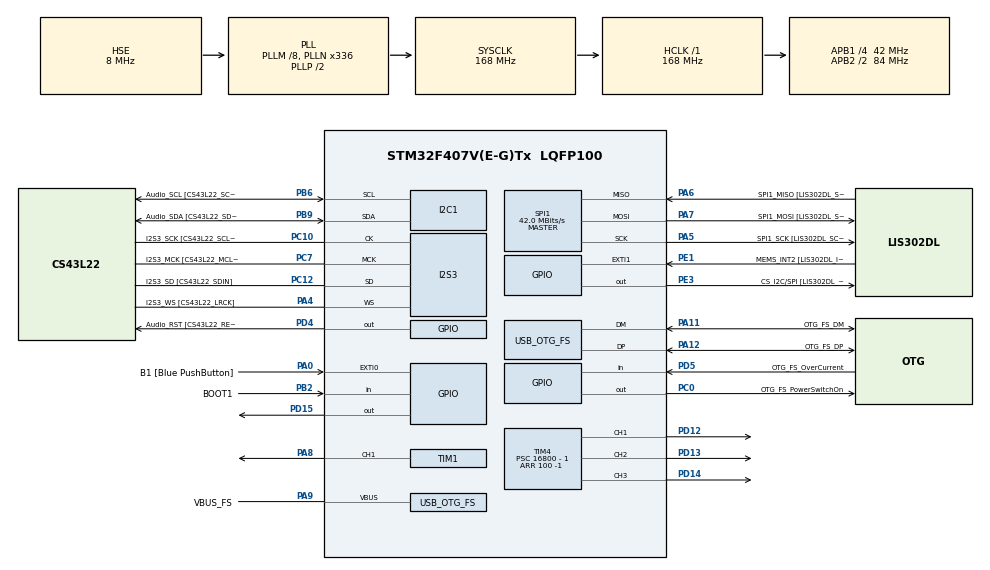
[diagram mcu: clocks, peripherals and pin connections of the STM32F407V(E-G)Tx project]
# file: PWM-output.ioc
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I2S3.AudioFreq-Half_Duplex_Master=I2S_AUDIOFREQ_96K
I2S3.ErrorAudioFreq=-2.34 %
I2S3.ErrorAudioFreq-Half_Duplex_Master=0.8 %
I2S3.FullDuplexMode=I2S_FULLDUPLEXMODE_DISABLE
I2S3.Instance=SPI$Index
I2S3.RealAudioFreq=93.75 KHz
I2S3.RealAudioFreq-Half_Duplex_Master=96.774 KHz
I2S3.VirtualMode=I2S_MODE_MASTER
Mcu.Family=STM32F4
Mcu.Name=STM32F407V(E-G)Tx
Mcu.Package=LQFP100
NVIC.OTG_FS_IRQn=true\:0\:0\:false\:false\:true\:true
NVIC.PriorityGroup=NVIC_PRIORITYGROUP_0
PA0-WKUP.GPIO_Label=B1 [Blue PushButton]
PA0-WKUP.GPIO_ModeDefaultEXTI=GPIO_MODE_EVT_RISING
PA0-WKUP.GPIO_PuPd=GPIO_NOPULL
PA0-WKUP.Signal=GPXTI0
PA10.GPIO_Label=OTG_FS_ID
PA10.GPIO_Mode=GPIO_MODE_AF_PP
PA10.GPIO_PuPd=GPIO_NOPULL
PA10.GPIO_Speed=GPIO_SPEED_FREQ_LOW
PA10.Signal=USB_OTG_FS_ID
PA11.GPIO_Label=OTG_FS_DM
PA11.GPIO_Mode=GPIO_MODE_AF_PP
PA11.GPIO_PuPd=GPIO_NOPULL
PA11.GPIO_Speed=GPIO_SPEED_FREQ_LOW
PA11.Mode=Host_Only
PA11.Signal=USB_OTG_FS_DM
PA12.GPIO_Label=OTG_FS_DP
PA12.GPIO_Mode=GPIO_MODE_AF_PP
PA12.GPIO_PuPd=GPIO_NOPULL
PA12.GPIO_Speed=GPIO_SPEED_FREQ_LOW
PA12.Mode=Host_Only
PA12.Signal=USB_OTG_FS_DP
PA13.GPIO_Label=SWDIO
PA13.Mode=Serial_Wire
PA13.Signal=SYS_JTMS-SWDIO
PA14.GPIO_Label=SWCLK
PA14.Mode=Serial_Wire
PA14.Signal=SYS_JTCK-SWCLK
PA4.GPIO_Label=I2S3_WS [CS43L22_LRCK]
PA4.GPIO_Mode=GPIO_MODE_AF_PP
PA4.GPIO_PuPd=GPIO_NOPULL
PA4.GPIO_Speed=GPIO_SPEED_FREQ_LOW
PA4.Mode=Half_Duplex_Master
PA4.Signal=I2S3_WS
PA5.GPIO_Label=SPI1_SCK [LIS302DL_SCL/SPC]
PA5.GPIO_Mode=GPIO_MODE_AF_PP
PA5.GPIO_PuPd=GPIO_NOPULL
PA5.GPIO_Speed=GPIO_SPEED_FREQ_LOW
PA5.Mode=Full_Duplex_Master
PA5.Signal=SPI1_SCK
PA6.GPIO_Label=SPI1_MISO [LIS302DL_SDO]
PA6.GPIO_Mode=GPIO_MODE_AF_PP
PA6.GPIO_PuPd=GPIO_NOPULL
PA6.GPIO_Speed=GPIO_SPEED_FREQ_LOW
PA6.Mode=Full_Duplex_Master
PA6.Signal=SPI1_MISO
PA7.GPIO_Label=SPI1_MOSI [LIS302DL_SDA/SDI/SDO]
PA7.GPIO_Mode=GPIO_MODE_AF_PP
PA7.GPIO_PuPd=GPIO_NOPULL
PA7.GPIO_Speed=GPIO_SPEED_FREQ_LOW
PA7.Mode=Full_Duplex_Master
PA7.Signal=SPI1_MOSI
PA8.Signal=S_TIM1_CH1
PA9.GPIO_Label=VBUS_FS
PA9.GPIO_Mode=GPIO_MODE_INPUT
PA9.GPIO_PuPd=GPIO_NOPULL
PA9.Mode=Activate_VBUS
PA9.Signal=USB_OTG_FS_VBUS
PB10.GPIO_Label=CLK_IN [MP45DT02_CLK]
PB10.GPIO_Mode=GPIO_MODE_AF_PP
PB10.GPIO_PuPd=GPIO_NOPULL
PB10.GPIO_Speed=GPIO_SPEED_FREQ_LOW
PB10.Signal=I2S2_CK
PB2.GPIO_Label=BOOT1
PB2.GPIO_Mode=GPIO_MODE_INPUT
PB2.GPIO_PuPd=GPIO_NOPULL
PB2.Signal=GPIO_Input
PB3.GPIO_Label=SWO
PB3.Signal=SYS_JTDO-SWO
PB6.GPIO_Label=Audio_SCL [CS43L22_SCL]
PB6.GPIO_Mode=GPIO_MODE_AF_OD
PB6.GPIO_PuPd=GPIO_NOPULL
PB6.GPIO_Speed=GPIO_SPEED_FREQ_LOW
PB6.Mode=I2C
PB6.Signal=I2C1_SCL
PB9.GPIO_Label=Audio_SDA [CS43L22_SDA]
PB9.GPIO_Mode=GPIO_MODE_AF_OD
PB9.GPIO_PuPd=GPIO_NOPULL
PB9.GPIO_Speed=GPIO_SPEED_FREQ_LOW
PB9.Mode=I2C
PB9.Signal=I2C1_SDA
PC0.GPIO_Label=OTG_FS_PowerSwitchOn
PC0.GPIO_PuPd=GPIO_NOPULL
PC0.GPIO_Speed=GPIO_SPEED_FREQ_LOW
PC0.PinState=GPIO_PIN_SET
PC0.Signal=GPIO_Output
PC10.GPIO_Label=I2S3_SCK [CS43L22_SCLK]
PC10.GPIO_Mode=GPIO_MODE_AF_PP
PC10.GPIO_PuPd=GPIO_NOPULL
PC10.GPIO_Speed=GPIO_SPEED_FREQ_LOW
PC10.Mode=Half_Duplex_Master
PC10.Signal=I2S3_CK
PC12.GPIO_Label=I2S3_SD [CS43L22_SDIN]
PC12.GPIO_Mode=GPIO_MODE_AF_PP
PC12.GPIO_PuPd=GPIO_NOPULL
PC12.GPIO_Speed=GPIO_SPEED_FREQ_LOW
PC12.Mode=Half_Duplex_Master
PC12.Signal=I2S3_SD
PC14-OSC32_IN.GPIO_Label=PC14-OSC32_IN
PC14-OSC32_IN.Mode=LSE-External-Oscillator
PC14-OSC32_IN.Signal=RCC_OSC32_IN
PC15-OSC32_OUT.GPIO_Label=PC15-OSC32_OUT
PC15-OSC32_OUT.Mode=LSE-External-Oscillator
PC15-OSC32_OUT.Signal=RCC_OSC32_OUT
PC3.GPIO_Label=PDM_OUT [MP45DT02_DOUT]
PC3.GPIO_Mode=GPIO_MODE_AF_PP
PC3.GPIO_PuPd=GPIO_NOPULL
PC3.GPIO_Speed=GPIO_SPEED_FREQ_LOW
PC3.Signal=I2S2_SD
PC7.GPIO_Label=I2S3_MCK [CS43L22_MCLK]
PC7.GPIO_Mode=GPIO_MODE_AF_PP
PC7.GPIO_PuPd=GPIO_NOPULL
PC7.GPIO_Speed=GPIO_SPEED_FREQ_LOW
PC7.Mode=Master_Clock_Activated
PC7.Signal=I2S3_MCK
PD12.Signal=S_TIM4_CH1
PD13.Signal=S_TIM4_CH2
PD14.Signal=S_TIM4_CH3
PD15.Signal=GPIO_Output
PD4.GPIO_Label=Audio_RST [CS43L22_RESET]
PD4.GPIO_PuPd=GPIO_NOPULL
PD4.GPIO_Speed=GPIO_SPEED_FREQ_LOW
PD4.Signal=GPIO_Output
PD5.GPIO_Label=OTG_FS_OverCurrent
PD5.GPIO_Mode=GPIO_MODE_INPUT
PD5.GPIO_PuPd=GPIO_NOPULL
PD5.Signal=GPIO_Input
PE1.GPIO_Label=MEMS_INT2 [LIS302DL_INT2]
PE1.GPIO_ModeDefaultEXTI=GPIO_MODE_EVT_RISING
PE1.GPIO_PuPd=GPIO_NOPULL
PE1.Signal=GPXTI1
PE3.GPIO_Label=CS_I2C/SPI [LIS302DL_CS_I2C/SPI]
PE3.GPIO_PuPd=GPIO_NOPULL
PE3.GPIO_Speed=GPIO_SPEED_FREQ_LOW
PE3.Signal=GPIO_Output
PH0-OSC_IN.GPIO_Label=PH0-OSC_IN
PH0-OSC_IN.Mode=HSE-External-Oscillator
PH0-OSC_IN.Signal=RCC_OSC_IN
PH1-OSC_OUT.GPIO_Label=PH1-OSC_OUT
PH1-OSC_OUT.Mode=HSE-External-Oscillator
PH1-OSC_OUT.Signal=RCC_OSC_OUT
ProjectManager.HeapSize=0x200
ProjectManager.StackSize=0x400
ProjectManager.TargetToolchain=TrueSTUDIO
RCC.48MHZClocksFreq_Value=48000000
RCC.AHBFreq_Value=168000000
RCC.APB1CLKDivider=RCC_HCLK_DIV4
RCC.APB1Freq_Value=42000000
RCC.APB1TimFreq_Value=84000000
RCC.APB2CLKDivider=RCC_HCLK_DIV2
RCC.APB2Freq_Value=84000000
RCC.APB2TimFreq_Value=168000000
RCC.CortexFreq_Value=168000000
RCC.HCLKFreq_Value=168000000
RCC.HSE_VALUE=8000000
RCC.HSI_VALUE=16000000
RCC.PLLM=8
RCC.PLLN=336
RCC.PLLQ=7
RCC.SYSCLKFreq_VALUE=168000000
RCC.SYSCLKSource=RCC_SYSCLKSOURCE_PLLCLK
RCC.VCOOutputFreq_Value=336000000
SH.S_TIM1_CH1.0=TIM1_CH1,PWM Generation1 CH1
SH.S_TIM4_CH1.0=TIM4_CH1,PWM Generation1 CH1
SH.S_TIM4_CH2.0=TIM4_CH2,PWM Generation2 CH2
SH.S_TIM4_CH3.0=TIM4_CH3,PWM Generation3 CH3
SPI1.BaudRatePrescaler-Full_Duplex_Master=SPI_BAUDRATEPRESCALER_2
SPI1.CalculateBaudRate=42.0 MBits/s
SPI1.CalculateBaudRate-Full_Duplex_Master=42.0 MBits/s
SPI1.Direction=SPI_DIRECTION_2LINES
SPI1.Mode=SPI_MODE_MASTER
SPI1.Mode-Full_Duplex_Master=SPI_MODE_MASTER
SPI1.VirtualType=VM_MASTER
TIM1.Channel-PWM\ Generation1\ CH1=TIM_CHANNEL_1
TIM1.Period=100 - 1
TIM1.Prescaler=16800 - 1
TIM4.Channel-PWM\ Generation1\ CH1=TIM_CHANNEL_1
TIM4.Channel-PWM\ Generation2\ CH2=TIM_CHANNEL_2
TIM4.Channel-PWM\ Generation3\ CH3=TIM_CHANNEL_3
TIM4.Period=100 -1 
TIM4.Prescaler=16800 - 1
USB_HOST.BSP.number=1
USB_HOST.USBH_HandleTypeDef-CDC_FS=hUsbHostFS
USB_HOST.VirtualModeFS=Cdc
USB_HOST0.BSP.STBoard=false
USB_HOST0.BSP.api=UnknownBspDriver
USB_HOST0.BSP.i2caddr=0
USB_HOST0.BSP.i2creg=0
USB_HOST0.BSP.instance=PC0
USB_HOST0.BSP.ip=GPIO
USB_HOST0.BSP.mode=Output
USB_HOST0.BSP.name=Drive_VBUS_FS
USB_HOST0.BSP.solution=PC0
USB_OTG_FS.VirtualMode=Host_Only
USB_OTG_FS.phy_itface=HCD_PHY_EMBEDDED
VP_USB_HOST_VS_USB_HOST_CDC_FS.Mode=CDC_FS
board=STM32F4DISCOVERY

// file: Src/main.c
/**
  ******************************************************************************
  * @file           : main.c
  * @brief          : Main program body
  ******************************************************************************
  * This notice applies to any and all portions of this file
  * that are not between comment pairs USER CODE BEGIN and
  * USER CODE END. Other portions of this file, whether
  * inserted by the user or by software development tools
  * are owned by their respective copyright owners.
  *
  * Copyright (c) 2018 STMicroelectronics International N.V.
  * All rights reserved.
  *
  * Redistribution and use in source and binary forms, with or without
  * modification, are permitted, provided that the following conditions are met:
  *
  * 1. Redistribution of source code must retain the above copyright notice,
  *    this list of conditions and the following disclaimer.
  * 2. Redistributions in binary form must reproduce the above copyright notice,
  *    this list of conditions and the following disclaimer in the documentation
  *    and/or other materials provided with the distribution.
  * 3. Neither the name of STMicroelectronics nor the names of other
  *    contributors to this software may be used to endorse or promote products
  *    derived from this software without specific written permission.
  * 4. This software, including modifications and/or derivative works of this
  *    software, must execute solely and exclusively on microcontroller or
  *    microprocessor devices manufactured by or for STMicroelectronics.
  * 5. Redistribution and use of this software other than as permitted under
  *    this license is void and will automatically terminate your rights under
  *    this license.
  *
  * THIS SOFTWARE IS PROVIDED BY STMICROELECTRONICS AND CONTRIBUTORS "AS IS"
  * AND ANY EXPRESS, IMPLIED OR STATUTORY WARRANTIES, INCLUDING, BUT NOT
  * LIMITED TO, THE IMPLIED WARRANTIES OF MERCHANTABILITY, FITNESS FOR A
  * PARTICULAR PURPOSE AND NON-INFRINGEMENT OF THIRD PARTY INTELLECTUAL PROPERTY
  * RIGHTS ARE DISCLAIMED TO THE FULLEST EXTENT PERMITTED BY LAW. IN NO EVENT
  * SHALL STMICROELECTRONICS OR CONTRIBUTORS BE LIABLE FOR ANY DIRECT, INDIRECT,
  * INCIDENTAL, SPECIAL, EXEMPLARY, OR CONSEQUENTIAL DAMAGES (INCLUDING, BUT NOT
  * LIMITED TO, PROCUREMENT OF SUBSTITUTE GOODS OR SERVICES; LOSS OF USE, DATA,
  * OR PROFITS; OR BUSINESS INTERRUPTION) HOWEVER CAUSED AND ON ANY THEORY OF
  * LIABILITY, WHETHER IN CONTRACT, STRICT LIABILITY, OR TORT (INCLUDING
  * NEGLIGENCE OR OTHERWISE) ARISING IN ANY WAY OUT OF THE USE OF THIS SOFTWARE,
  * EVEN IF ADVISED OF THE POSSIBILITY OF SUCH DAMAGE.
  *
  ******************************************************************************
  */
#include "main.h"
#include "stm32f4xx_hal.h"
#include "usb_host.h"

I2C_HandleTypeDef hi2c1;

I2S_HandleTypeDef hi2s3;

SPI_HandleTypeDef hspi1;

TIM_HandleTypeDef htim1;
TIM_HandleTypeDef htim4;

/* USER CODE BEGIN PV */
/* Private variables ---------------------------------------------------------*/

/* USER CODE END PV */

void SystemClock_Config(void);
static void MX_GPIO_Init(void);
static void MX_I2C1_Init(void);
static void MX_I2S3_Init(void);
static void MX_SPI1_Init(void);
static void MX_TIM1_Init(void);
static void MX_TIM4_Init(void);
void MX_USB_HOST_Process(void);

void HAL_TIM_MspPostInit(TIM_HandleTypeDef *htim);

/* USER CODE BEGIN PFP */
/* Private function prototypes -----------------------------------------------*/

/* USER CODE END PFP */

/* USER CODE BEGIN 0 */
int next_duty(void) {
  static int duty = 0;
  duty += 10;
  if (duty > 100) {
      duty = 0;
  }
  return duty;
}

/* USER CODE END 0 */

int main(void)
{
  /* USER CODE BEGIN 1 */
  /* SYSCLOCK 168MHz, Prescaler 16800, Counter period 100
     It generates 100MHz PWM.
     Set duty as 50/100 (50%)
  */
  const int DUTY_50 = 50;

  // LED blink period
  const int LED_INTERVAL = 100;

  int blightness;
  /* USER CODE END 1 */

  /* MCU Configuration----------------------------------------------------------*/

  /* Reset of all peripherals, Initializes the Flash interface and the Systick. */
  HAL_Init();

  /* Configure the system clock */
  SystemClock_Config();

  /* Initialize all configured peripherals */
  MX_GPIO_Init();
  MX_I2C1_Init();
  MX_I2S3_Init();
  MX_SPI1_Init();
  MX_USB_HOST_Init();
  MX_TIM1_Init();
  MX_TIM4_Init();
  /* USER CODE BEGIN 2 */

  // PWM output to PA8
  if (HAL_TIM_PWM_Start(&htim1, TIM_CHANNEL_1) != HAL_OK) {
      Error_Handler();
  } else {
      __HAL_TIM_SetCompare(&htim1, TIM_CHANNEL_1, DUTY_50);
  }

  // PWM output to PD12
  if (HAL_TIM_PWM_Start(&htim4, TIM_CHANNEL_1) != HAL_OK) {
      Error_Handler();
  }

  // PWM output to PD13
  if (HAL_TIM_PWM_Start(&htim4, TIM_CHANNEL_2) != HAL_OK) {
      Error_Handler();
  }

  // PWM output to PD14
  if (HAL_TIM_PWM_Start(&htim4, TIM_CHANNEL_3) != HAL_OK) {
      Error_Handler();
  }

  // PWM output to PD15
  if (HAL_TIM_PWM_Start(&htim4, TIM_CHANNEL_4) != HAL_OK) {
      Error_Handler();
  }

  /* USER CODE END 2 */

  /* Infinite loop */
  /* USER CODE BEGIN WHILE */
  while (1)
  {
    blightness = next_duty();
    __HAL_TIM_SetCompare(&htim4, TIM_CHANNEL_1, blightness);
    __HAL_TIM_SetCompare(&htim4, TIM_CHANNEL_2, blightness);
    __HAL_TIM_SetCompare(&htim4, TIM_CHANNEL_3, blightness);
    __HAL_TIM_SetCompare(&htim4, TIM_CHANNEL_4, blightness);

    HAL_GPIO_WritePin(GPIOD, GPIO_PIN_12, SET);
    HAL_GPIO_WritePin(GPIOD, GPIO_PIN_13, SET);
    HAL_GPIO_WritePin(GPIOD, GPIO_PIN_14, SET);
    HAL_GPIO_WritePin(GPIOD, GPIO_PIN_15, SET);

    HAL_Delay(LED_INTERVAL);

  /* USER CODE END WHILE */
    MX_USB_HOST_Process();

  }

}

void SystemClock_Config(void)
{

  RCC_OscInitTypeDef RCC_OscInitStruct;
  RCC_ClkInitTypeDef RCC_ClkInitStruct;
  RCC_PeriphCLKInitTypeDef PeriphClkInitStruct;

    /**Configure the main internal regulator output voltage
    */
  __HAL_RCC_PWR_CLK_ENABLE();

  __HAL_PWR_VOLTAGESCALING_CONFIG(PWR_REGULATOR_VOLTAGE_SCALE1);

    /**Initializes the CPU, AHB and APB busses clocks
    */
  RCC_OscInitStruct.OscillatorType = RCC_OSCILLATORTYPE_HSE;
  RCC_OscInitStruct.HSEState = RCC_HSE_ON;
  RCC_OscInitStruct.PLL.PLLState = RCC_PLL_ON;
  RCC_OscInitStruct.PLL.PLLSource = RCC_PLLSOURCE_HSE;
  RCC_OscInitStruct.PLL.PLLM = 8;
  RCC_OscInitStruct.PLL.PLLN = 336;
  RCC_OscInitStruct.PLL.PLLP = RCC_PLLP_DIV2;
  RCC_OscInitStruct.PLL.PLLQ = 7;
  if (HAL_RCC_OscConfig(&RCC_OscInitStruct) != HAL_OK)
  {
    _Error_Handler(__FILE__, __LINE__);
  }

    /**Initializes the CPU, AHB and APB busses clocks
    */
  RCC_ClkInitStruct.ClockType = RCC_CLOCKTYPE_HCLK|RCC_CLOCKTYPE_SYSCLK
                              |RCC_CLOCKTYPE_PCLK1|RCC_CLOCKTYPE_PCLK2;
  RCC_ClkInitStruct.SYSCLKSource = RCC_SYSCLKSOURCE_PLLCLK;
  RCC_ClkInitStruct.AHBCLKDivider = RCC_SYSCLK_DIV1;
  RCC_ClkInitStruct.APB1CLKDivider = RCC_HCLK_DIV4;
  RCC_ClkInitStruct.APB2CLKDivider = RCC_HCLK_DIV2;

  if (HAL_RCC_ClockConfig(&RCC_ClkInitStruct, FLASH_LATENCY_5) != HAL_OK)
  {
    _Error_Handler(__FILE__, __LINE__);
  }

  PeriphClkInitStruct.PeriphClockSelection = RCC_PERIPHCLK_I2S;
  PeriphClkInitStruct.PLLI2S.PLLI2SN = 192;
  PeriphClkInitStruct.PLLI2S.PLLI2SR = 2;
  if (HAL_RCCEx_PeriphCLKConfig(&PeriphClkInitStruct) != HAL_OK)
  {
    _Error_Handler(__FILE__, __LINE__);
  }

    /**Configure the Systick interrupt time
    */
  HAL_SYSTICK_Config(HAL_RCC_GetHCLKFreq()/1000);

    /**Configure the Systick
    */
  HAL_SYSTICK_CLKSourceConfig(SYSTICK_CLKSOURCE_HCLK);

  /* SysTick_IRQn interrupt configuration */
  HAL_NVIC_SetPriority(SysTick_IRQn, 0, 0);
}

/* I2C1 init function */
static void MX_I2C1_Init(void)
{

  hi2c1.Instance = I2C1;
  hi2c1.Init.ClockSpeed = 100000;
  hi2c1.Init.DutyCycle = I2C_DUTYCYCLE_2;
  hi2c1.Init.OwnAddress1 = 0;
  hi2c1.Init.AddressingMode = I2C_ADDRESSINGMODE_7BIT;
  hi2c1.Init.DualAddressMode = I2C_DUALADDRESS_DISABLE;
  hi2c1.Init.OwnAddress2 = 0;
  hi2c1.Init.GeneralCallMode = I2C_GENERALCALL_DISABLE;
  hi2c1.Init.NoStretchMode = I2C_NOSTRETCH_DISABLE;
  if (HAL_I2C_Init(&hi2c1) != HAL_OK)
  {
    _Error_Handler(__FILE__, __LINE__);
  }

}

/* I2S3 init function */
static void MX_I2S3_Init(void)
{

  hi2s3.Instance = SPI3;
  hi2s3.Init.Mode = I2S_MODE_MASTER_TX;
  hi2s3.Init.Standard = I2S_STANDARD_PHILIPS;
  hi2s3.Init.DataFormat = I2S_DATAFORMAT_16B;
  hi2s3.Init.MCLKOutput = I2S_MCLKOUTPUT_ENABLE;
  hi2s3.Init.AudioFreq = I2S_AUDIOFREQ_96K;
  hi2s3.Init.CPOL = I2S_CPOL_LOW;
  hi2s3.Init.ClockSource = I2S_CLOCK_PLL;
  hi2s3.Init.FullDuplexMode = I2S_FULLDUPLEXMODE_DISABLE;
  if (HAL_I2S_Init(&hi2s3) != HAL_OK)
  {
    _Error_Handler(__FILE__, __LINE__);
  }

}

/* SPI1 init function */
static void MX_SPI1_Init(void)
{

  /* SPI1 parameter configuration*/
  hspi1.Instance = SPI1;
  hspi1.Init.Mode = SPI_MODE_MASTER;
  hspi1.Init.Direction = SPI_DIRECTION_2LINES;
  hspi1.Init.DataSize = SPI_DATASIZE_8BIT;
  hspi1.Init.CLKPolarity = SPI_POLARITY_LOW;
  hspi1.Init.CLKPhase = SPI_PHASE_1EDGE;
  hspi1.Init.NSS = SPI_NSS_SOFT;
  hspi1.Init.BaudRatePrescaler = SPI_BAUDRATEPRESCALER_2;
  hspi1.Init.FirstBit = SPI_FIRSTBIT_MSB;
  hspi1.Init.TIMode = SPI_TIMODE_DISABLE;
  hspi1.Init.CRCCalculation = SPI_CRCCALCULATION_DISABLE;
  hspi1.Init.CRCPolynomial = 10;
  if (HAL_SPI_Init(&hspi1) != HAL_OK)
  {
    _Error_Handler(__FILE__, __LINE__);
  }

}

/* TIM1 init function */
static void MX_TIM1_Init(void)
{

  TIM_MasterConfigTypeDef sMasterConfig;
  TIM_OC_InitTypeDef sConfigOC;
  TIM_BreakDeadTimeConfigTypeDef sBreakDeadTimeConfig;

  htim1.Instance = TIM1;
  htim1.Init.Prescaler = 16800 - 1;
  htim1.Init.CounterMode = TIM_COUNTERMODE_UP;
  htim1.Init.Period = 100 - 1;
  htim1.Init.ClockDivision = TIM_CLOCKDIVISION_DIV1;
  htim1.Init.RepetitionCounter = 0;
  if (HAL_TIM_PWM_Init(&htim1) != HAL_OK)
  {
    _Error_Handler(__FILE__, __LINE__);
  }

  sMasterConfig.MasterOutputTrigger = TIM_TRGO_RESET;
  sMasterConfig.MasterSlaveMode = TIM_MASTERSLAVEMODE_DISABLE;
  if (HAL_TIMEx_MasterConfigSynchronization(&htim1, &sMasterConfig) != HAL_OK)
  {
    _Error_Handler(__FILE__, __LINE__);
  }

  sConfigOC.OCMode = TIM_OCMODE_PWM1;
  sConfigOC.Pulse = 0;
  sConfigOC.OCPolarity = TIM_OCPOLARITY_HIGH;
  sConfigOC.OCNPolarity = TIM_OCNPOLARITY_HIGH;
  sConfigOC.OCFastMode = TIM_OCFAST_DISABLE;
  sConfigOC.OCIdleState = TIM_OCIDLESTATE_RESET;
  sConfigOC.OCNIdleState = TIM_OCNIDLESTATE_RESET;
  if (HAL_TIM_PWM_ConfigChannel(&htim1, &sConfigOC, TIM_CHANNEL_1) != HAL_OK)
  {
    _Error_Handler(__FILE__, __LINE__);
  }

  sBreakDeadTimeConfig.OffStateRunMode = TIM_OSSR_DISABLE;
  sBreakDeadTimeConfig.OffStateIDLEMode = TIM_OSSI_DISABLE;
  sBreakDeadTimeConfig.LockLevel = TIM_LOCKLEVEL_OFF;
  sBreakDeadTimeConfig.DeadTime = 0;
  sBreakDeadTimeConfig.BreakState = TIM_BREAK_DISABLE;
  sBreakDeadTimeConfig.BreakPolarity = TIM_BREAKPOLARITY_HIGH;
  sBreakDeadTimeConfig.AutomaticOutput = TIM_AUTOMATICOUTPUT_DISABLE;
  if (HAL_TIMEx_ConfigBreakDeadTime(&htim1, &sBreakDeadTimeConfig) != HAL_OK)
  {
    _Error_Handler(__FILE__, __LINE__);
  }

  HAL_TIM_MspPostInit(&htim1);

}

/* TIM4 init function */
static void MX_TIM4_Init(void)
{

  TIM_MasterConfigTypeDef sMasterConfig;
  TIM_OC_InitTypeDef sConfigOC;

  htim4.Instance = TIM4;
  htim4.Init.Prescaler = 16800 - 1;
  htim4.Init.CounterMode = TIM_COUNTERMODE_UP;
  htim4.Init.Period = 100 -1 ;
  htim4.Init.ClockDivision = TIM_CLOCKDIVISION_DIV1;
  if (HAL_TIM_PWM_Init(&htim4) != HAL_OK)
  {
    _Error_Handler(__FILE__, __LINE__);
  }

  sMasterConfig.MasterOutputTrigger = TIM_TRGO_RESET;
  sMasterConfig.MasterSlaveMode = TIM_MASTERSLAVEMODE_DISABLE;
  if (HAL_TIMEx_MasterConfigSynchronization(&htim4, &sMasterConfig) != HAL_OK)
  {
    _Error_Handler(__FILE__, __LINE__);
  }

  sConfigOC.OCMode = TIM_OCMODE_PWM1;
  sConfigOC.Pulse = 0;
  sConfigOC.OCPolarity = TIM_OCPOLARITY_HIGH;
  sConfigOC.OCFastMode = TIM_OCFAST_DISABLE;
  if (HAL_TIM_PWM_ConfigChannel(&htim4, &sConfigOC, TIM_CHANNEL_1) != HAL_OK)
  {
    _Error_Handler(__FILE__, __LINE__);
  }

  if (HAL_TIM_PWM_ConfigChannel(&htim4, &sConfigOC, TIM_CHANNEL_2) != HAL_OK)
  {
    _Error_Handler(__FILE__, __LINE__);
  }

  if (HAL_TIM_PWM_ConfigChannel(&htim4, &sConfigOC, TIM_CHANNEL_3) != HAL_OK)
  {
    _Error_Handler(__FILE__, __LINE__);
  }

  if (HAL_TIM_PWM_ConfigChannel(&htim4, &sConfigOC, TIM_CHANNEL_4) != HAL_OK)
  {
    _Error_Handler(__FILE__, __LINE__);
  }

  HAL_TIM_MspPostInit(&htim4);

}

/** Configure pins as
        * Analog
        * Input
        * Output
        * EVENT_OUT
        * EXTI
     PC3   ------> I2S2_SD
     PB10   ------> I2S2_CK
*/
static void MX_GPIO_Init(void)
{

  GPIO_InitTypeDef GPIO_InitStruct;

  /* GPIO Ports Clock Enable */
  __HAL_RCC_GPIOE_CLK_ENABLE();
  __HAL_RCC_GPIOC_CLK_ENABLE();
  __HAL_RCC_GPIOH_CLK_ENABLE();
  __HAL_RCC_GPIOA_CLK_ENABLE();
  __HAL_RCC_GPIOB_CLK_ENABLE();
  __HAL_RCC_GPIOD_CLK_ENABLE();

  /*Configure GPIO pin Output Level */
  HAL_GPIO_WritePin(CS_I2C_SPI_GPIO_Port, CS_I2C_SPI_Pin, GPIO_PIN_RESET);

  /*Configure GPIO pin Output Level */
  HAL_GPIO_WritePin(OTG_FS_PowerSwitchOn_GPIO_Port, OTG_FS_PowerSwitchOn_Pin, GPIO_PIN_SET);

  /*Configure GPIO pin Output Level */
  HAL_GPIO_WritePin(Audio_RST_GPIO_Port, Audio_RST_Pin, GPIO_PIN_RESET);

  /*Configure GPIO pin : CS_I2C_SPI_Pin */
  GPIO_InitStruct.Pin = CS_I2C_SPI_Pin;
  GPIO_InitStruct.Mode = GPIO_MODE_OUTPUT_PP;
  GPIO_InitStruct.Pull = GPIO_NOPULL;
  GPIO_InitStruct.Speed = GPIO_SPEED_FREQ_LOW;
  HAL_GPIO_Init(CS_I2C_SPI_GPIO_Port, &GPIO_InitStruct);

  /*Configure GPIO pin : OTG_FS_PowerSwitchOn_Pin */
  GPIO_InitStruct.Pin = OTG_FS_PowerSwitchOn_Pin;
  GPIO_InitStruct.Mode = GPIO_MODE_OUTPUT_PP;
  GPIO_InitStruct.Pull = GPIO_NOPULL;
  GPIO_InitStruct.Speed = GPIO_SPEED_FREQ_LOW;
  HAL_GPIO_Init(OTG_FS_PowerSwitchOn_GPIO_Port, &GPIO_InitStruct);

  /*Configure GPIO pin : PDM_OUT_Pin */
  GPIO_InitStruct.Pin = PDM_OUT_Pin;
  GPIO_InitStruct.Mode = GPIO_MODE_AF_PP;
  GPIO_InitStruct.Pull = GPIO_NOPULL;
  GPIO_InitStruct.Speed = GPIO_SPEED_FREQ_LOW;
  GPIO_InitStruct.Alternate = GPIO_AF5_SPI2;
  HAL_GPIO_Init(PDM_OUT_GPIO_Port, &GPIO_InitStruct);

  /*Configure GPIO pin : B1_Pin */
  GPIO_InitStruct.Pin = B1_Pin;
  GPIO_InitStruct.Mode = GPIO_MODE_EVT_RISING;
  GPIO_InitStruct.Pull = GPIO_NOPULL;
  HAL_GPIO_Init(B1_GPIO_Port, &GPIO_InitStruct);

  /*Configure GPIO pin : BOOT1_Pin */
  GPIO_InitStruct.Pin = BOOT1_Pin;
  GPIO_InitStruct.Mode = GPIO_MODE_INPUT;
  GPIO_InitStruct.Pull = GPIO_NOPULL;
  HAL_GPIO_Init(BOOT1_GPIO_Port, &GPIO_InitStruct);

  /*Configure GPIO pin : CLK_IN_Pin */
  GPIO_InitStruct.Pin = CLK_IN_Pin;
  GPIO_InitStruct.Mode = GPIO_MODE_AF_PP;
  GPIO_InitStruct.Pull = GPIO_NOPULL;
  GPIO_InitStruct.Speed = GPIO_SPEED_FREQ_LOW;
  GPIO_InitStruct.Alternate = GPIO_AF5_SPI2;
  HAL_GPIO_Init(CLK_IN_GPIO_Port, &GPIO_InitStruct);

  /*Configure GPIO pin : Audio_RST_Pin */
  GPIO_InitStruct.Pin = Audio_RST_Pin;
  GPIO_InitStruct.Mode = GPIO_MODE_OUTPUT_PP;
  GPIO_InitStruct.Pull = GPIO_NOPULL;
  GPIO_InitStruct.Speed = GPIO_SPEED_FREQ_LOW;
  HAL_GPIO_Init(Audio_RST_GPIO_Port, &GPIO_InitStruct);

  /*Configure GPIO pin : OTG_FS_OverCurrent_Pin */
  GPIO_InitStruct.Pin = OTG_FS_OverCurrent_Pin;
  GPIO_InitStruct.Mode = GPIO_MODE_INPUT;
  GPIO_InitStruct.Pull = GPIO_NOPULL;
  HAL_GPIO_Init(OTG_FS_OverCurrent_GPIO_Port, &GPIO_InitStruct);

  /*Configure GPIO pin : MEMS_INT2_Pin */
  GPIO_InitStruct.Pin = MEMS_INT2_Pin;
  GPIO_InitStruct.Mode = GPIO_MODE_EVT_RISING;
  GPIO_InitStruct.Pull = GPIO_NOPULL;
  HAL_GPIO_Init(MEMS_INT2_GPIO_Port, &GPIO_InitStruct);

}

void _Error_Handler(char *file, int line)
{
  while(1)
  {
  }
}

/************************ (C) COPYRIGHT STMicroelectronics *****END OF FILE****/
